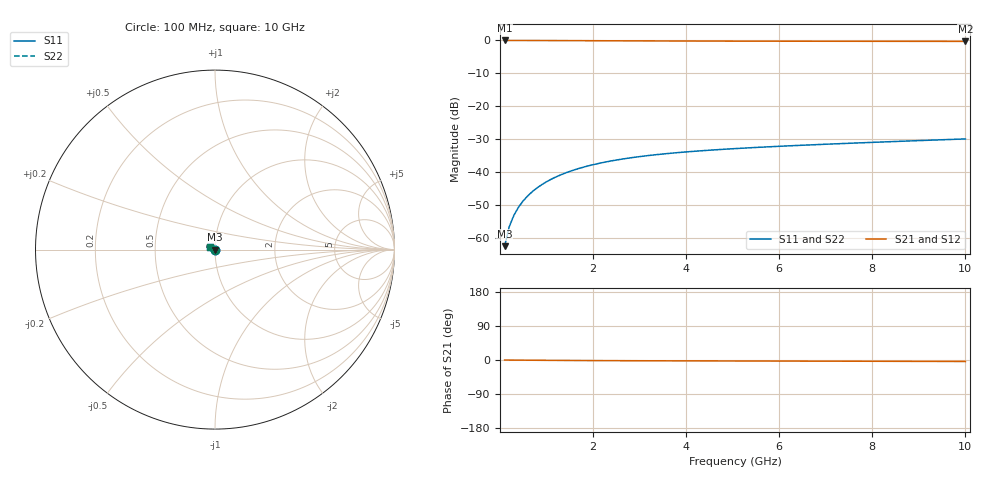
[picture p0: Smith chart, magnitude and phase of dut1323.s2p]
! Touchstone file exported from HFSS 2024.1.0
!  File:  C:/UserFiles/LocalFiles/RDL_TSV_Batchsim/temp_TSV1_1323_1780374570.aedt
!  Generated:  12:36:37 PM Jun  2, 2026
!  Design:  TSV1
!  Project:  temp_TSV1_1323_1780374570
!  Setup:  Setup1
!  Solution:  Sweep
! Variables:
!  dtsv = 9.43um
!  hbump = 3um
!  htsv = 54.93um
!  lrdl = 252.1521522um
!  p = 40
!  p1 = 58.42um
!  t = 500um
!  trdl = 3um
!  wrdl = 24.89489489um
# GHz S MA R 50.000000
! Terminal data exported
! Port[1] = TSV22_T1
! Port[2] = TSV22_T2
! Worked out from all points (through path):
!   100 points, 100 MHz to 10 GHz, reference 50 ohm
!   highest |S21| = 0.00 dB at 100 MHz (marker M1); lowest = -0.3 dB at 10 GHz (marker M2)
!   lowest |S11| = -62.5 dB at 100 MHz (marker M3), VSWR 1.00, Z = 50 - j0.0746 ohm
!   |S11| at or under -10 dB: start of sweep to end of sweep
!   |S22| runs from -62.5 to -29.9 dB; largest |S21 - S12| = 3.2e-15
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0.1  0.0007526 -82.3  0.9998 -0.1  0.9998 -0.1  0.0007526 -82.3
! Gamma 0 0 0 0
! Port Impedance 50 0 50 0
0.2  0.001486 -89.5  0.9997 -0.2  0.9997 -0.2  0.001486 -89.5
0.3  0.00222 -93.5  0.9996 -0.3  0.9996 -0.3  0.00222 -93.5
0.4  0.00295 -96.6  0.9994 -0.4  0.9994 -0.4  0.00295 -96.6
0.5  0.003674 -99.3  0.9991 -0.5  0.9991 -0.5  0.003674 -99.3
0.6  0.00439 -101.9  0.9988 -0.5  0.9988 -0.5  0.00439 -101.9
0.7  0.005097 -104.3  0.9984 -0.6  0.9984 -0.6  0.005097 -104.3
0.8  0.005793 -106.7  0.998 -0.7  0.998 -0.7  0.005793 -106.7
0.9  0.006477 -109.0  0.9975 -0.8  0.9975 -0.8  0.006477 -109.0
1.1  0.007804 -113.4  0.9965 -0.9  0.9965 -0.9  0.007804 -113.4
1.4  0.00968 -119.7  0.9947 -1.2  0.9947 -1.2  0.00968 -119.7
1.6  0.01085 -123.7  0.9935 -1.3  0.9935 -1.3  0.01085 -123.7
1.8  0.01195 -127.5  0.9922 -1.4  0.9922 -1.4  0.01195 -127.5
2.1  0.01348 -132.9  0.9903 -1.6  0.9903 -1.6  0.01348 -132.9
2.5  0.01528 -139.7  0.9878 -1.8  0.9878 -1.8  0.01528 -139.7
2.9  0.01686 -145.8  0.9855 -1.9  0.9855 -1.9  0.01686 -145.8
3.4  0.01857 -152.8  0.9829 -2.1  0.9829 -2.1  0.01857 -152.8
4.2  0.02082 -162.6  0.9794 -2.3  0.9794 -2.3  0.02082 -162.6
5.1  0.0229 -172.0  0.9764 -2.6  0.9764 -2.6  0.0229 -172.0
6.7  0.02601 174.5  0.9727 -3.0  0.9727 -3.0  0.02601 174.5
8.4  0.02907 163.3  0.9702 -3.5  0.9702 -3.5  0.02907 163.3
10  0.03198 154.7  0.9686 -3.9  0.9686 -3.9  0.03198 154.7
